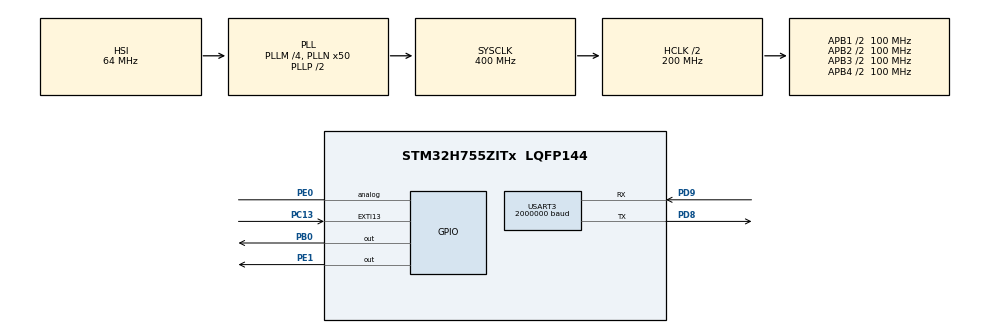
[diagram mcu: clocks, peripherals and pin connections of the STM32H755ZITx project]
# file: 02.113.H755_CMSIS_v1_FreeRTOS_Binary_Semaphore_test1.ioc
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CortexM4.IPs=FATFS_M4\:I,FREERTOS_M4\:I,IWDG2\:I,RCC,WWDG2\:I,DMA,BDMA,MDMA,NVIC2\:I,ETH,DEBUG,PDM2PCM_M4\:I,PWR,RESMGR_UTILITY,SYS_M4\:I,USB_DEVICE_M4\:I,USB_HOST_M4\:I,CORTEX_M4\:I,GPIO,OPENAMP_M4\:I,VREFBUF,NUCLEO-H755ZI-Q
CortexM7.IPs=FATFS_M7\:I,FREERTOS_M7\:I,IWDG1\:I,RCC\:I,WWDG1\:I,DMA\:I,BDMA\:I,MDMA\:I,NVIC1\:I,ETH\:I,USB_OTG_FS\:I,SYS\:I,CORTEX_M7\:I,DEBUG\:I,PDM2PCM_M7\:I,PWR\:I,RESMGR_UTILITY\:I,USB_DEVICE_M7\:I,USB_HOST_M7\:I,GPIO\:I,OPENAMP_M7\:I,VREFBUF\:I,NUCLEO-H755ZI-Q\:I,USART3\:I,TIM1\:I
CortexM7.Pins=PC13,PB0,PE0,PE1
Dma.Request0=USART3_TX
Dma.Request1=USART3_RX
Dma.USART3_RX.1.Direction=DMA_PERIPH_TO_MEMORY
Dma.USART3_RX.1.EventEnable=DISABLE
Dma.USART3_RX.1.FIFOMode=DMA_FIFOMODE_DISABLE
Dma.USART3_RX.1.Instance=DMA1_Stream1
Dma.USART3_RX.1.MemDataAlignment=DMA_MDATAALIGN_BYTE
Dma.USART3_RX.1.MemInc=DMA_MINC_ENABLE
Dma.USART3_RX.1.Mode=DMA_CIRCULAR
Dma.USART3_RX.1.PeriphDataAlignment=DMA_PDATAALIGN_BYTE
Dma.USART3_RX.1.PeriphInc=DMA_PINC_DISABLE
Dma.USART3_RX.1.Polarity=HAL_DMAMUX_REQ_GEN_RISING
Dma.USART3_RX.1.Priority=DMA_PRIORITY_LOW
Dma.USART3_RX.1.RequestNumber=1
Dma.USART3_RX.1.SignalID=NONE
Dma.USART3_RX.1.SyncEnable=DISABLE
Dma.USART3_RX.1.SyncPolarity=HAL_DMAMUX_SYNC_NO_EVENT
Dma.USART3_RX.1.SyncRequestNumber=1
Dma.USART3_RX.1.SyncSignalID=NONE
Dma.USART3_TX.0.Direction=DMA_MEMORY_TO_PERIPH
Dma.USART3_TX.0.EventEnable=DISABLE
Dma.USART3_TX.0.FIFOMode=DMA_FIFOMODE_DISABLE
Dma.USART3_TX.0.Instance=DMA1_Stream0
Dma.USART3_TX.0.MemDataAlignment=DMA_MDATAALIGN_BYTE
Dma.USART3_TX.0.MemInc=DMA_MINC_ENABLE
Dma.USART3_TX.0.Mode=DMA_NORMAL
Dma.USART3_TX.0.PeriphDataAlignment=DMA_PDATAALIGN_BYTE
Dma.USART3_TX.0.PeriphInc=DMA_PINC_DISABLE
Dma.USART3_TX.0.Polarity=HAL_DMAMUX_REQ_GEN_RISING
Dma.USART3_TX.0.Priority=DMA_PRIORITY_LOW
Dma.USART3_TX.0.RequestNumber=1
Dma.USART3_TX.0.SignalID=NONE
Dma.USART3_TX.0.SyncEnable=DISABLE
Dma.USART3_TX.0.SyncPolarity=HAL_DMAMUX_SYNC_NO_EVENT
Dma.USART3_TX.0.SyncRequestNumber=1
Dma.USART3_TX.0.SyncSignalID=NONE
FREERTOS_M7.BinarySemaphores01=BinSem,Dynamic,NULL,Available
FREERTOS_M7.Tasks01=NormalTask,0,128,StartNormalTask,Default,NULL,Dynamic,NULL,NULL;HighTask,1,128,StartHighTask,Default,NULL,Dynamic,NULL,NULL;LowTask,-1,128,StartLowTask,Default,NULL,Dynamic,NULL,NULL
Mcu.Family=STM32H7
Mcu.Name=STM32H755ZITx
Mcu.Package=LQFP144
NVIC1.DMA1_Stream0_IRQn=true\:5\:0\:false\:false\:true\:true\:false\:true\:true
NVIC1.DMA1_Stream1_IRQn=true\:5\:0\:false\:false\:true\:true\:false\:true\:true
NVIC1.EXTI15_10_IRQn=true\:6\:0\:true\:false\:true\:true\:true\:true\:true
NVIC1.PriorityGroup=NVIC_PRIORITYGROUP_4
NVIC1.TIM1_UP_IRQn=true\:15\:0\:false\:false\:true\:false\:false\:true\:true
NVIC1.TimeBase=TIM1_UP_IRQn
NVIC1.TimeBaseIP=TIM1
NVIC1.USART3_IRQn=true\:5\:0\:false\:false\:true\:true\:true\:true\:true
NVIC2.PriorityGroup=NVIC_PRIORITYGROUP_4
PB0.PinAttribute=CortexM7
PB0.Signal=GPIO_Output
PC13.PinAttribute=CortexM7
PC13.Signal=GPXTI13
PC13.TagName=BUTTON
PD8.Mode=Asynchronous
PD8.PinAttribute=CortexM7
PD8.Signal=USART3_TX
PD8.TagName=VCP_RX
PD9.Mode=Asynchronous
PD9.PinAttribute=CortexM7
PD9.Signal=USART3_RX
PD9.TagName=VCP_TX
PE0.PinAttribute=CortexM7
PE0.Signal=GPIO_Analog
PE1.PinAttribute=CortexM7
PE1.Signal=GPIO_Output
ProjectManager.HeapSize=M4-0x200,M7-0x200
ProjectManager.StackSize=M4-0x400,M7-0x400
ProjectManager.TargetToolchain=STM32CubeIDE
RCC.ADCFreq_Value=129000000
RCC.APB1Freq_Value=100000000
RCC.APB2Freq_Value=100000000
RCC.APB3Freq_Value=100000000
RCC.APB4Freq_Value=100000000
RCC.CortexFreq_Value=400000000
RCC.D1PPRE=RCC_APB3_DIV2
RCC.D2PPRE1=RCC_APB1_DIV2
RCC.D2PPRE2=RCC_APB2_DIV2
RCC.D3PPRE=RCC_APB4_DIV2
RCC.DIVM1=4
RCC.DIVN1=50
RCC.DIVQ1=5
RCC.HCLKFreq_Value=200000000
RCC.HPRE=RCC_HCLK_DIV2
RCC.PLL2FRACN=0
RCC.PLL3FRACN=0
RCC.PLLFRACN=0
RCC.SYSCLKFreq_VALUE=400000000
RCC.SYSCLKSource=RCC_SYSCLKSOURCE_PLLCLK
RCC.SupplySource=PWR_DIRECT_SMPS_SUPPLY
RCC.USBFreq_Value=160000000
USART3.BaudRate=2000000
USART3.VirtualMode-Asynchronous=VM_ASYNC
VP_FREERTOS_M7_VS_CMSIS_V1.Mode=CMSIS_V1
VP_SYS_M4_VS_Systick.Mode=SysTick
VP_SYS_VS_tim1.Mode=TIM1
board=NUCLEO-H755ZI-Q

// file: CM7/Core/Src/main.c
/* USER CODE BEGIN Header */
/**
  ******************************************************************************
  * @file           : main.c
  * @brief          : Main program body
  ******************************************************************************
  * @attention
  *
  * Copyright (c) 2026 STMicroelectronics.
  * All rights reserved.
  *
  * This software is licensed under terms that can be found in the LICENSE file
  * in the root directory of this software component.
  * If no LICENSE file comes with this software, it is provided AS-IS.
  *
  ******************************************************************************
  */
/* USER CODE END Header */
#include "main.h"
#include "cmsis_os.h"

/* USER CODE BEGIN Includes */
/*A binary semaphore has no ownership. Any task or ISR can give it — including one that
never took it.*/
#include <stdio.h>
#include <string.h>
#include <stddef.h>
#include <stdarg.h>
#include <stdbool.h>
#include <stdlib.h>
#include <stdint.h>
/* USER CODE END Includes */

/* USER CODE BEGIN PD */

/* DUAL_CORE_BOOT_SYNC_SEQUENCE: Define for dual core boot synchronization    */
/*                             demonstration code based on hardware semaphore */
/* This define is present in both CM7/CM4 projects                            */
/* To comment when developping/debugging on a single core                     */
#define DUAL_CORE_BOOT_SYNC_SEQUENCE

#if defined(DUAL_CORE_BOOT_SYNC_SEQUENCE)
#ifndef HSEM_ID_0
#define HSEM_ID_0 (0U) /* HW semaphore 0*/
#endif
#endif /* DUAL_CORE_BOOT_SYNC_SEQUENCE */

/* USER CODE END PD */

UART_HandleTypeDef huart3;
DMA_HandleTypeDef hdma_usart3_tx;
DMA_HandleTypeDef hdma_usart3_rx;

osThreadId NormalTaskHandle;
osThreadId HighTaskHandle;
osThreadId LowTaskHandle;
osSemaphoreId BinSemHandle;

void SystemClock_Config(void);
static void MX_GPIO_Init(void);
static void MX_DMA_Init(void);
static void MX_USART3_UART_Init(void);
void StartNormalTask(void const * argument);
void StartHighTask(void const * argument);
void StartLowTask(void const * argument);

/* USER CODE BEGIN PFP */
static uint8_t queue_next(uint8_t idx);
void DebugPrint(const char *format, ...);
void handle_command(const char *cmd);
void check_dma_data(void);
/* USER CODE END PFP */

/* USER CODE BEGIN 0 */
#define DEBUG_QUEUE_SIZE   16
#define DEBUG_MSG_LEN     128

/* ── DMA RX buffer ─────────────────────────────────────── */
#define DMA_RX_BUF_SIZE   256

/* ── TX queue state ────────────────────────────────────── */
// volatile: written in ISR, read in main context
volatile uint8_t  dbg_busy = 0;

uint8_t  dbg_head = 0;
uint8_t  dbg_tail = 0;
char     debug_queue[DEBUG_QUEUE_SIZE][DEBUG_MSG_LEN];
uint16_t debug_queue_len[DEBUG_QUEUE_SIZE];

uint8_t  dma_rx_buffer[DMA_RX_BUF_SIZE];
/* USER CODE END 0 */

int main(void)
{

/* USER CODE BEGIN Boot_Mode_Sequence_0 */
#if defined(DUAL_CORE_BOOT_SYNC_SEQUENCE)
  int32_t timeout;
#endif /* DUAL_CORE_BOOT_SYNC_SEQUENCE */
/* USER CODE END Boot_Mode_Sequence_0 */

/* USER CODE BEGIN Boot_Mode_Sequence_1 */
#if defined(DUAL_CORE_BOOT_SYNC_SEQUENCE)
  /* Wait until CPU2 boots and enters in stop mode or timeout*/
  timeout = 0xFFFF;
  while((__HAL_RCC_GET_FLAG(RCC_FLAG_D2CKRDY) != RESET) && (timeout-- > 0));
  if ( timeout < 0 )
  {
  Error_Handler();
  }
#endif /* DUAL_CORE_BOOT_SYNC_SEQUENCE */
/* USER CODE END Boot_Mode_Sequence_1 */
  /* MCU Configuration--------------------------------------------------------*/

  /* Reset of all peripherals, Initializes the Flash interface and the Systick. */
  HAL_Init();

  /* Configure the system clock */
  SystemClock_Config();
/* USER CODE BEGIN Boot_Mode_Sequence_2 */
#if defined(DUAL_CORE_BOOT_SYNC_SEQUENCE)
/* When system initialization is finished, Cortex-M7 will release Cortex-M4 by means of
HSEM notification */
/*HW semaphore Clock enable*/
__HAL_RCC_HSEM_CLK_ENABLE();
/*Take HSEM */
HAL_HSEM_FastTake(HSEM_ID_0);
/*Release HSEM in order to notify the CPU2(CM4)*/
HAL_HSEM_Release(HSEM_ID_0,0);
/* wait until CPU2 wakes up from stop mode */
timeout = 0xFFFF;
while((__HAL_RCC_GET_FLAG(RCC_FLAG_D2CKRDY) == RESET) && (timeout-- > 0));
if ( timeout < 0 )
{
Error_Handler();
}
#endif /* DUAL_CORE_BOOT_SYNC_SEQUENCE */
/* USER CODE END Boot_Mode_Sequence_2 */

  /* Initialize all configured peripherals */
  MX_GPIO_Init();
  MX_DMA_Init();
  MX_USART3_UART_Init();

  /* Create the semaphores(s) */
  /* definition and creation of BinSem */
  osSemaphoreDef(BinSem);
  BinSemHandle = osSemaphoreCreate(osSemaphore(BinSem), 1);
  configASSERT(BinSemHandle != NULL);

  /* Create the thread(s) */
  /* definition and creation of NormalTask */
  osThreadDef(NormalTask, StartNormalTask, osPriorityNormal, 0, 128);
  NormalTaskHandle = osThreadCreate(osThread(NormalTask), NULL);

  /* definition and creation of HighTask */
  osThreadDef(HighTask, StartHighTask, osPriorityAboveNormal, 0, 128);
  HighTaskHandle = osThreadCreate(osThread(HighTask), NULL);

  /* definition and creation of LowTask */
  osThreadDef(LowTask, StartLowTask, osPriorityBelowNormal, 0, 128);
  LowTaskHandle = osThreadCreate(osThread(LowTask), NULL);

  /* USER CODE BEGIN RTOS_THREADS */
  /* add threads, ... */
  DebugPrint("FreeRTOS kernel start\n\r");
  // Start UART DMA listener
  HAL_UART_Receive_DMA(&huart3, dma_rx_buffer, sizeof(dma_rx_buffer));
  /* USER CODE END RTOS_THREADS */

  /* Start scheduler */
  osKernelStart();

  /* We should never get here as control is now taken by the scheduler */

  /* Infinite loop */
  while (1)
  {

    /* USER CODE BEGIN 3 */
//	  check_dma_data();
  }
  /* USER CODE END 3 */
}

void SystemClock_Config(void)
{
  RCC_OscInitTypeDef RCC_OscInitStruct = {0};
  RCC_ClkInitTypeDef RCC_ClkInitStruct = {0};

  /** Supply configuration update enable
  */
  HAL_PWREx_ConfigSupply(PWR_DIRECT_SMPS_SUPPLY);

  /** Configure the main internal regulator output voltage
  */
  __HAL_PWR_VOLTAGESCALING_CONFIG(PWR_REGULATOR_VOLTAGE_SCALE1);

  while(!__HAL_PWR_GET_FLAG(PWR_FLAG_VOSRDY)) {}

  /** Initializes the RCC Oscillators according to the specified parameters
  * in the RCC_OscInitTypeDef structure.
  */
  RCC_OscInitStruct.OscillatorType = RCC_OSCILLATORTYPE_HSI;
  RCC_OscInitStruct.HSIState = RCC_HSI_DIV1;
  RCC_OscInitStruct.HSICalibrationValue = RCC_HSICALIBRATION_DEFAULT;
  RCC_OscInitStruct.PLL.PLLState = RCC_PLL_ON;
  RCC_OscInitStruct.PLL.PLLSource = RCC_PLLSOURCE_HSI;
  RCC_OscInitStruct.PLL.PLLM = 4;
  RCC_OscInitStruct.PLL.PLLN = 50;
  RCC_OscInitStruct.PLL.PLLP = 2;
  RCC_OscInitStruct.PLL.PLLQ = 5;
  RCC_OscInitStruct.PLL.PLLR = 2;
  RCC_OscInitStruct.PLL.PLLRGE = RCC_PLL1VCIRANGE_3;
  RCC_OscInitStruct.PLL.PLLVCOSEL = RCC_PLL1VCOWIDE;
  RCC_OscInitStruct.PLL.PLLFRACN = 0;
  if (HAL_RCC_OscConfig(&RCC_OscInitStruct) != HAL_OK)
  {
    Error_Handler();
  }

  /** Initializes the CPU, AHB and APB buses clocks
  */
  RCC_ClkInitStruct.ClockType = RCC_CLOCKTYPE_HCLK|RCC_CLOCKTYPE_SYSCLK
                              |RCC_CLOCKTYPE_PCLK1|RCC_CLOCKTYPE_PCLK2
                              |RCC_CLOCKTYPE_D3PCLK1|RCC_CLOCKTYPE_D1PCLK1;
  RCC_ClkInitStruct.SYSCLKSource = RCC_SYSCLKSOURCE_PLLCLK;
  RCC_ClkInitStruct.SYSCLKDivider = RCC_SYSCLK_DIV1;
  RCC_ClkInitStruct.AHBCLKDivider = RCC_HCLK_DIV2;
  RCC_ClkInitStruct.APB3CLKDivider = RCC_APB3_DIV2;
  RCC_ClkInitStruct.APB1CLKDivider = RCC_APB1_DIV2;
  RCC_ClkInitStruct.APB2CLKDivider = RCC_APB2_DIV2;
  RCC_ClkInitStruct.APB4CLKDivider = RCC_APB4_DIV2;

  if (HAL_RCC_ClockConfig(&RCC_ClkInitStruct, FLASH_LATENCY_2) != HAL_OK)
  {
    Error_Handler();
  }
}

static void MX_USART3_UART_Init(void)
{

  huart3.Instance = USART3;
  huart3.Init.BaudRate = 2000000;
  huart3.Init.WordLength = UART_WORDLENGTH_8B;
  huart3.Init.StopBits = UART_STOPBITS_1;
  huart3.Init.Parity = UART_PARITY_NONE;
  huart3.Init.Mode = UART_MODE_TX_RX;
  huart3.Init.HwFlowCtl = UART_HWCONTROL_NONE;
  huart3.Init.OverSampling = UART_OVERSAMPLING_16;
  huart3.Init.OneBitSampling = UART_ONE_BIT_SAMPLE_DISABLE;
  huart3.Init.ClockPrescaler = UART_PRESCALER_DIV1;
  huart3.AdvancedInit.AdvFeatureInit = UART_ADVFEATURE_NO_INIT;
  if (HAL_UART_Init(&huart3) != HAL_OK)
  {
    Error_Handler();
  }
  if (HAL_UARTEx_SetTxFifoThreshold(&huart3, UART_TXFIFO_THRESHOLD_1_8) != HAL_OK)
  {
    Error_Handler();
  }
  if (HAL_UARTEx_SetRxFifoThreshold(&huart3, UART_RXFIFO_THRESHOLD_1_8) != HAL_OK)
  {
    Error_Handler();
  }
  if (HAL_UARTEx_DisableFifoMode(&huart3) != HAL_OK)
  {
    Error_Handler();
  }

}

static void MX_DMA_Init(void)
{

  /* DMA controller clock enable */
  __HAL_RCC_DMA1_CLK_ENABLE();

  /* DMA interrupt init */
  /* DMA1_Stream0_IRQn interrupt configuration */
  HAL_NVIC_SetPriority(DMA1_Stream0_IRQn, 5, 0);
  HAL_NVIC_EnableIRQ(DMA1_Stream0_IRQn);
  /* DMA1_Stream1_IRQn interrupt configuration */
  HAL_NVIC_SetPriority(DMA1_Stream1_IRQn, 5, 0);
  HAL_NVIC_EnableIRQ(DMA1_Stream1_IRQn);

}

static void MX_GPIO_Init(void)
{
  GPIO_InitTypeDef GPIO_InitStruct = {0};

  /* GPIO Ports Clock Enable */
  __HAL_RCC_GPIOC_CLK_ENABLE();
  __HAL_RCC_GPIOB_CLK_ENABLE();
  __HAL_RCC_GPIOD_CLK_ENABLE();
  __HAL_RCC_GPIOE_CLK_ENABLE();

  /*Configure GPIO pin Output Level */
  HAL_GPIO_WritePin(GPIOB, GPIO_PIN_0, GPIO_PIN_RESET);

  /*Configure GPIO pin Output Level */
  HAL_GPIO_WritePin(GPIOE, GPIO_PIN_1, GPIO_PIN_RESET);

  /*Configure GPIO pin : PC13 */
  GPIO_InitStruct.Pin = GPIO_PIN_13;
  GPIO_InitStruct.Mode = GPIO_MODE_IT_RISING;
  GPIO_InitStruct.Pull = GPIO_NOPULL;
  HAL_GPIO_Init(GPIOC, &GPIO_InitStruct);

  /*Configure GPIO pin : PB0 */
  GPIO_InitStruct.Pin = GPIO_PIN_0;
  GPIO_InitStruct.Mode = GPIO_MODE_OUTPUT_PP;
  GPIO_InitStruct.Pull = GPIO_NOPULL;
  GPIO_InitStruct.Speed = GPIO_SPEED_FREQ_LOW;
  HAL_GPIO_Init(GPIOB, &GPIO_InitStruct);

  /*Configure GPIO pin : PE0 */
  GPIO_InitStruct.Pin = GPIO_PIN_0;
  GPIO_InitStruct.Mode = GPIO_MODE_ANALOG;
  GPIO_InitStruct.Pull = GPIO_NOPULL;
  HAL_GPIO_Init(GPIOE, &GPIO_InitStruct);

  /*Configure GPIO pin : PE1 */
  GPIO_InitStruct.Pin = GPIO_PIN_1;
  GPIO_InitStruct.Mode = GPIO_MODE_OUTPUT_PP;
  GPIO_InitStruct.Pull = GPIO_NOPULL;
  GPIO_InitStruct.Speed = GPIO_SPEED_FREQ_LOW;
  HAL_GPIO_Init(GPIOE, &GPIO_InitStruct);

  /* EXTI interrupt init*/
  HAL_NVIC_SetPriority(EXTI15_10_IRQn, 6, 0);
  HAL_NVIC_EnableIRQ(EXTI15_10_IRQn);

}

/* USER CODE BEGIN 4 */
/* ── Internal helpers ──────────────────────────────────── */
static uint8_t queue_next(uint8_t idx)
{
    return (idx + 1) % DEBUG_QUEUE_SIZE;
}

/* ── DebugPrint ────────────────────────────────────────── */
void DebugPrint(const char *format, ...)
{
    uint8_t next = queue_next(dbg_head);

    if (next == dbg_tail)
        return;

    va_list args;
    va_start(args, format);

    int len = vsnprintf(debug_queue[dbg_head],DEBUG_MSG_LEN, format, args);
    debug_queue_len[dbg_head] = (len > 0) ? (uint16_t)len : 0;

    va_end(args);

    dbg_head = next;

    uint32_t primask = __get_PRIMASK();
    __disable_irq();
    if (!dbg_busy)
    {
        dbg_busy = 1;
        __set_PRIMASK(primask);
        HAL_UART_Transmit_DMA(
            &huart3,
            (uint8_t *)debug_queue[dbg_tail],
            debug_queue_len[dbg_tail]
        );
    }
    else
    {
        __set_PRIMASK(primask);
    }

}

void handle_command(const char *cmd)
{
    if (strcmp(cmd, "start") == 0)
    {
        DebugPrint("CMD OK: Injection started\r\n");

//        // Inject event into UI task
//        Q_Post(&sys.ui.q, (Event_t){ .sig = SIG_UI_START_PRESSED, .param = 0 });
    }
    else if (strcmp(cmd, "stop") == 0)
    {
        DebugPrint("CMD OK: Injection stopped\r\n");

//        // Inject event into UI task
//        Q_Post(&sys.ui.q, (Event_t){ .sig = SIG_UI_STOP_PRESSED, .param = 0 });
    }
    else if (strcmp(cmd, "post") == 0 || strcmp(cmd, "POST") == 0)
    {
        DebugPrint("CMD OK: LOGO is touched to shift POST\r\n");

//        // Inject event into UI task
//        Q_Post(&g_ui.q, (Event_t){ .sig = SIG_UI_LOGO_TO_POST, .param = 0 });
    }
    else
    {
        DebugPrint("Unknown command: %s\r\n", cmd);
    }
}

void check_dma_data(void)
{
    static uint16_t old_pos = 0;
    uint16_t pos =
        sizeof(dma_rx_buffer) - __HAL_DMA_GET_COUNTER(&hdma_usart3_rx);

    static char cmd_buf[64];
    static uint8_t cmd_len = 0;

    if (pos == old_pos)
        return;

    while (old_pos != pos)
    {
        char c = dma_rx_buffer[old_pos++];
        if (old_pos >= sizeof(dma_rx_buffer))
            old_pos = 0;

        // Line termination
        if (c == '\r' || c == '\n')
        {
            if (cmd_len > 0)
            {
                cmd_buf[cmd_len] = '\0';
                handle_command(cmd_buf);
                cmd_len = 0;
            }
        }
        else
        {
            if (cmd_len < sizeof(cmd_buf) - 1)
            {
                cmd_buf[cmd_len++] = c;
            }
        }
    }
}

/* ── TxCplt callback ───────────────────────────────────── */
void Debug_TxCpltCallback(void)
{
    dbg_tail = queue_next(dbg_tail);

    if (dbg_tail != dbg_head)
    {
        /* More messages pending — start next transfer */

        HAL_UART_Transmit_DMA(
            &huart3,
            (uint8_t *)debug_queue[dbg_tail],
            debug_queue_len[dbg_tail]
        );

    }
    else
    {
        dbg_busy = 0;
    }
}

void HAL_UART_TxCpltCallback(UART_HandleTypeDef *huart)
{

    if (huart->Instance == USART3)
    {
    	Debug_TxCpltCallback();
    }

}

void HAL_GPIO_EXTI_Callback(uint16_t GPIO_Pin)
{
    if (GPIO_Pin == GPIO_PIN_13)
    {
        BaseType_t xHigherPriorityTaskWoken = pdFALSE;

        /* CMSIS v1'de osSemaphoreRelease() ISR-safe değil.
                   ISR içinden doğrudan FreeRTOS API çağrılır.
                   BinSemHandle zaten osSemaphoreId = SemaphoreHandle_t */
        xSemaphoreGiveFromISR(BinSemHandle, &xHigherPriorityTaskWoken);

        /* If task priority > current task, switch immediately */
        portYIELD_FROM_ISR(xHigherPriorityTaskWoken);

    }
}

/* USER CODE END 4 */

void StartNormalTask(void const * argument)
{
  /* USER CODE BEGIN 5 */
  /* Infinite loop */
  for(;;)
  {
//	  /* FreeRTOS */
//	  xSemaphoreTake(BinSemHandle, portMAX_DELAY);

//	  /* CMSIS v1 karşılığı — task içinde bu kullanılır */
//	  osSemaphoreWait(BinSemHandle, osWaitForever);
//
//      /* Runs only after button press */
//      HAL_GPIO_TogglePin(GPIOE, GPIO_PIN_1); /* your LED pin */

      if (osSemaphoreWait(BinSemHandle, osWaitForever) == osOK)
      {
          HAL_GPIO_TogglePin(GPIOE, GPIO_PIN_1);
      }
  }
  /* USER CODE END 5 */
}

void StartHighTask(void const * argument)
{
  /* USER CODE BEGIN StartHighTask */
  /* Infinite loop */
  for(;;)
  {
      osDelay(3000);                      /* 3 saniye bekle    */
      osSemaphoreRelease(BinSemHandle);   /* NormalTask'ı uyandır */
  }
  /* USER CODE END StartHighTask */
}

void StartLowTask(void const * argument)
{
  for(;;)
  {
    osDelay(1);
  }
}

void HAL_TIM_PeriodElapsedCallback(TIM_HandleTypeDef *htim)
{
  if (htim->Instance == TIM1)
  {
    HAL_IncTick();
  }
}

void Error_Handler(void)
{
  __disable_irq();
  while (1)
  {
  }
}
